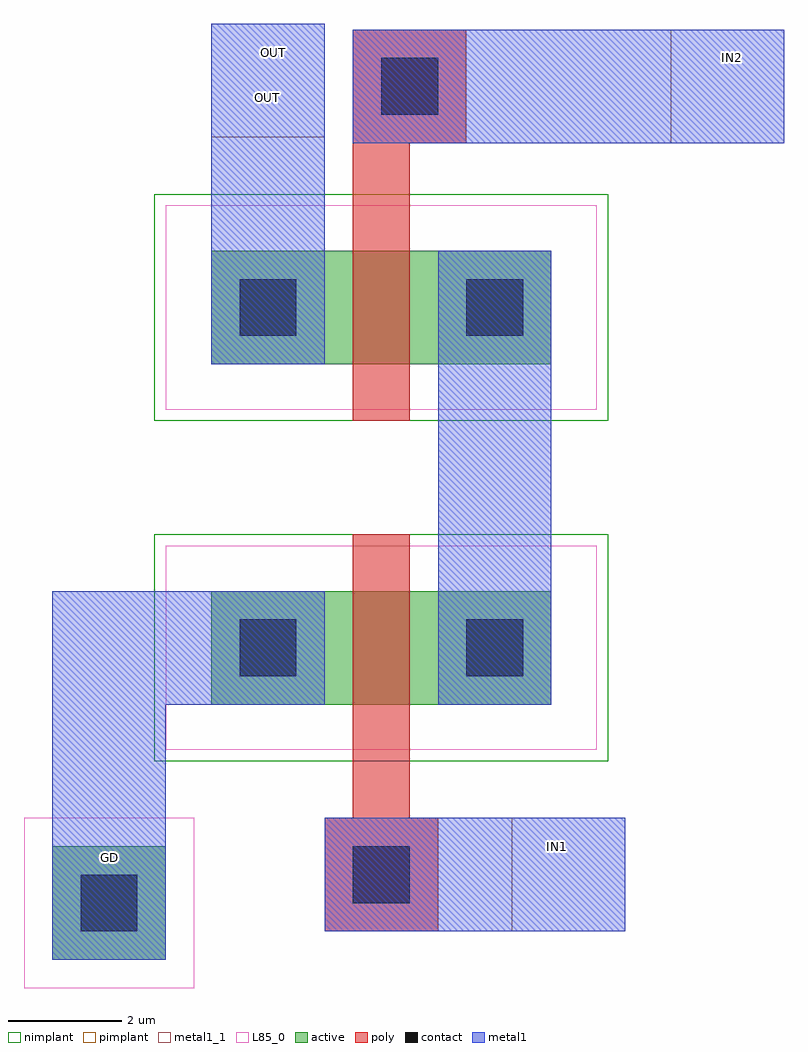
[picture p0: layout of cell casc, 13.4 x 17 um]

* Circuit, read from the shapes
.subckt casc GD IN1 IN2 OUT
M1 n1 IN1 GD GD nfet w=2u l=1u
M2 n1 IN2 OUT GD nfet w=2u l=1u
.ends

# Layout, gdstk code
from math import pi, radians
import gdstk
lib = gdstk.Library(unit=1e-6, precision=5e-10)
def R(c, l, rs):  # rectangles x0, y0, x1, y1
    for r in rs: c.add(gdstk.rectangle(r[:2], r[2:], *l))
active = (1, 0)
poly = (3, 0)
nimplant = (4, 0)
pimplant = (5, 0)
contact = (6, 0)
metal1 = (7, 0)
metal1_1 = (7, 1)
L85_0 = (85, 0)

nmos4 = lib.new_cell('nmos4')
R(nmos4, active, [(1,1,7,3)])
R(nmos4, poly, [(3.5,0,4.5,4), (3.6,3.4,4.4,3.9)])
R(nmos4, nimplant, [(0,0,8,4)])
R(nmos4, contact, [(1.5,1.5,2.5,2.5), (5.5,1.5,6.5,2.5)])
R(nmos4, metal1, [(1,1,3,3), (5,1,7,3), (1.3,1.3,2.7,2.7), (5.3,1.3,6.7,2.7)])
R(nmos4, L85_0, [(0.2,0.2,7.8,3.8)])

m1_psub_cdns_1 = lib.new_cell('M1_PSUB_CDNS_1')
R(m1_psub_cdns_1, active, [(-1,-1,1,1)])
R(m1_psub_cdns_1, pimplant, [(-1.5,-1.5,1.5,1.5)])
R(m1_psub_cdns_1, contact, [(-0.5,-0.5,0.5,0.5)])
R(m1_psub_cdns_1, metal1, [(-1,-1,1,1)])
R(m1_psub_cdns_1, L85_0, [(-1.5,-1.5,1.5,1.5)])

m1_po_cdns_2 = lib.new_cell('M1_PO_CDNS_2')
R(m1_po_cdns_2, poly, [(-1,-1,1,1)])
R(m1_po_cdns_2, contact, [(-0.5,-0.5,0.5,0.5)])
R(m1_po_cdns_2, metal1, [(-1,-1,1,1)])

casc = lib.new_cell('casc')
R(casc, metal1, [(3.2,0.9,5.2,7), (8,1,13.3,3), (3.2,5,8,7), (6,11,8,17), (8.5,14.9,16.1,16.9)])
R(casc, metal1_1, [(3.2,0.5,5.2,2.5), (11.3,1,13.3,3), (14.1,14.9,16.1,16.9), (6,15,8,17)])
casc.add(gdstk.FlexPath([(9,7.4),(9,2)], 1, ends="flush", simple_path=True, layer=3, datatype=0))  # poly
casc.add(gdstk.FlexPath([(9,15.9),(9.5,15.9)], 1, ends=(0.5, 0), simple_path=True, layer=3, datatype=0))  # poly
casc.add(gdstk.FlexPath([(9,10.6),(9,15.9)], 1, ends=(0, 0.5), simple_path=True, layer=3, datatype=0))  # poly
casc.add(gdstk.FlexPath([(11,6.7),(11,11.3)], 2, ends="flush", simple_path=True, layer=7, datatype=0))  # metal1
casc.add(gdstk.Reference(nmos4, (13,14), rotation=pi))
casc.add(gdstk.Reference(nmos4, (5,4)))
casc.add(gdstk.Reference(m1_psub_cdns_1, (4.2,1.5)))
casc.add(gdstk.Reference(m1_po_cdns_2, (9,2)))
casc.add(gdstk.Reference(m1_po_cdns_2, (9.5,15.9)))
casc.add(gdstk.Label('IN2', (15.2,16.4), layer=7, texttype=0))
casc.add(gdstk.Label('IN1', (12.1,2.5), layer=7, texttype=0))
casc.add(gdstk.Label('GD', (4.2,2.3), layer=7, texttype=3))
casc.add(gdstk.Label('OUT', (7,15.7), layer=7, texttype=3))
casc.add(gdstk.Label('OUT', (7.1,16.5), layer=7, texttype=3))

lib.write_gds('casc.gds')
